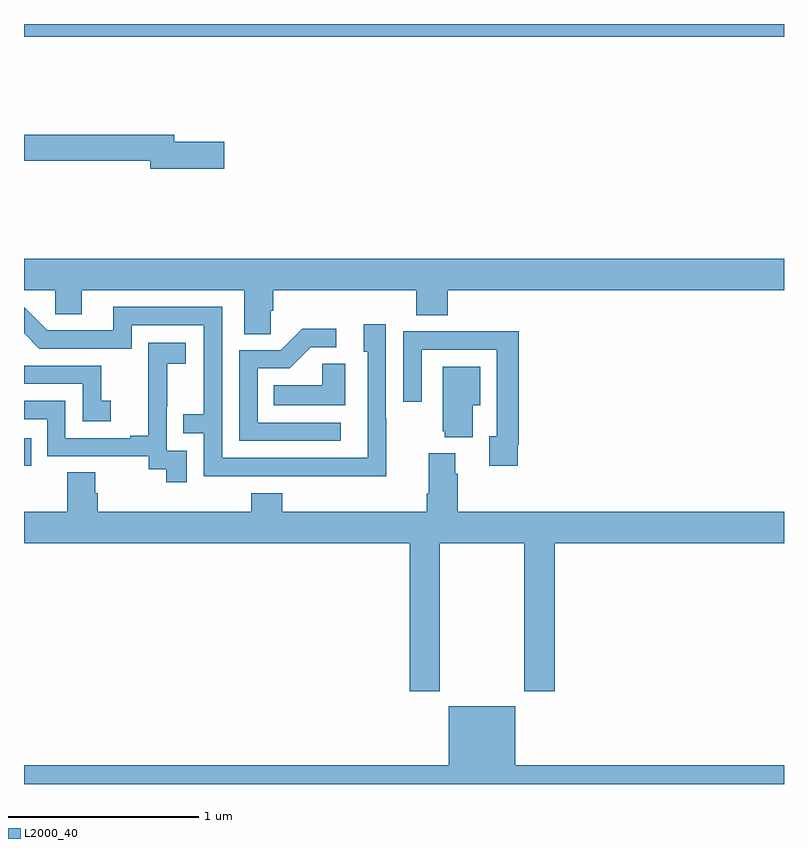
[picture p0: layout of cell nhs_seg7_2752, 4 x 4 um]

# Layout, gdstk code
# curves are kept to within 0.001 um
import gdstk
lib = gdstk.Library(unit=1e-6, precision=1e-09)
def R(c, l, rs):  # rectangles x0, y0, x1, y1
    for r in rs: c.add(gdstk.rectangle(r[:2], r[2:], *l))
def P(c, l, *ps):  # polygons
    for p in ps: c.add(gdstk.Polygon(p, *l))
L2000_40 = (2000, 40)

nhs_seg7_2752 = lib.new_cell('nhs_seg7_2752')
R(nhs_seg7_2752, L2000_40, [(289,1015.674,289.037,1015.821), (289,1017.932,293,1018)])
P(nhs_seg7_2752, L2000_40, [(290.053,1017.38),(289.792,1017.38),(289.792,1017.416),(289,1017.416),(289,1017.28),(289.664,1017.28),(289.664,1017.238),(290.053,1017.238)],
  [(290.298,1016.491),(290.312,1016.491),(290.312,1016.6),(291.065,1016.6),(291.065,1016.467),(291.23,1016.467),(291.23,1016.6),(293,1016.6),(293,1016.764),(289,1016.764),(289,1016.6),(289.164,1016.6),(289.164,1016.473),(289.303,1016.473),(289.303,1016.6),(290.159,1016.6),(290.159,1016.368),(290.298,1016.368)],
  [(290.907,1015.925),(290.904,1015.925),(290.904,1016.419),(290.789,1016.419),(290.789,1016.274),(290.808,1016.274),(290.808,1015.716),(290.043,1015.716),(290.043,1016.511),(289.469,1016.511),(289.469,1016.388),(289.122,1016.388),(289.002,1016.508),(289,1016.508),(289,1016.372),(289.08,1016.292),(289.566,1016.292),(289.566,1016.415),(289.947,1016.415),(289.947,1015.946),(289.837,1015.946),(289.837,1015.845),(289.947,1015.845),(289.947,1015.62),(290.907,1015.619)],
  [(290.668,1015.902),(290.229,1015.902),(290.229,1016.187),(290.398,1016.187),(290.509,1016.298),(290.644,1016.298),(290.644,1016.396),(290.465,1016.396),(290.352,1016.283),(290.133,1016.283),(290.133,1015.806),(290.668,1015.806)],
  [(291.598,1015.786),(291.605,1015.786),(291.605,1016.384),(291.313,1016.384),(291.313,1016.382),(290.997,1016.382),(290.997,1016.013),(291.093,1016.013),(291.093,1016.286),(291.489,1016.286),(291.489,1015.83),(291.449,1015.83),(291.449,1015.674),(291.598,1015.674)],
  [(289.857,1015.755),(289.752,1015.755),(289.752,1015.985),(289.754,1015.985),(289.754,1016.213),(289.852,1016.213),(289.852,1016.323),(289.654,1016.323),(289.654,1016.117),(289.655,1016.117),(289.655,1015.834),(289.559,1015.834),(289.559,1015.821),(289.218,1015.821),(289.218,1016.016),(289,1016.016),(289,1015.92),(289.122,1015.92),(289.122,1015.725),(289.656,1015.725),(289.656,1015.657),(289.749,1015.657),(289.749,1015.587),(289.857,1015.587)],
  [(290.692,1016.213),(290.571,1016.213),(290.571,1016.098),(290.314,1016.098),(290.314,1015.994),(290.692,1015.994)],
  [(289.456,1016.017),(289.407,1016.017),(289.407,1016.202),(289.003,1016.202),(289,1016.205),(289,1016.106),(289.308,1016.106),(289.308,1015.908),(289.456,1015.908)],
  [(291.361,1015.994),(291.4,1015.994),(291.4,1016.197),(291.203,1016.197),(291.203,1015.857),(291.215,1015.857),(291.215,1015.826),(291.361,1015.826)],
  [(291.271,1015.634),(291.271,1015.741),(291.131,1015.741),(291.131,1015.528),(291.119,1015.528),(291.119,1015.432),(290.36,1015.432),(290.36,1015.531),(290.195,1015.531),(290.195,1015.432),(289.388,1015.432),(289.388,1015.53),(289.375,1015.53),(289.375,1015.64),(289.228,1015.64),(289.228,1015.432),(289,1015.432),(289,1015.268),(291.029,1015.268),(291.029,1014.489),(291.189,1014.489),(291.189,1015.268),(291.634,1015.268),(291.634,1014.489),(291.794,1014.489),(291.794,1015.268),(293,1015.268),(293,1015.432),(291.284,1015.432),(291.284,1015.634)],
  [(293,1014.1),(291.586,1014.1),(291.586,1014.409),(291.236,1014.409),(291.236,1014.1),(289,1014.1),(289,1014),(293,1014)])

lib.write_gds('nhs_seg7_2752.gds')
